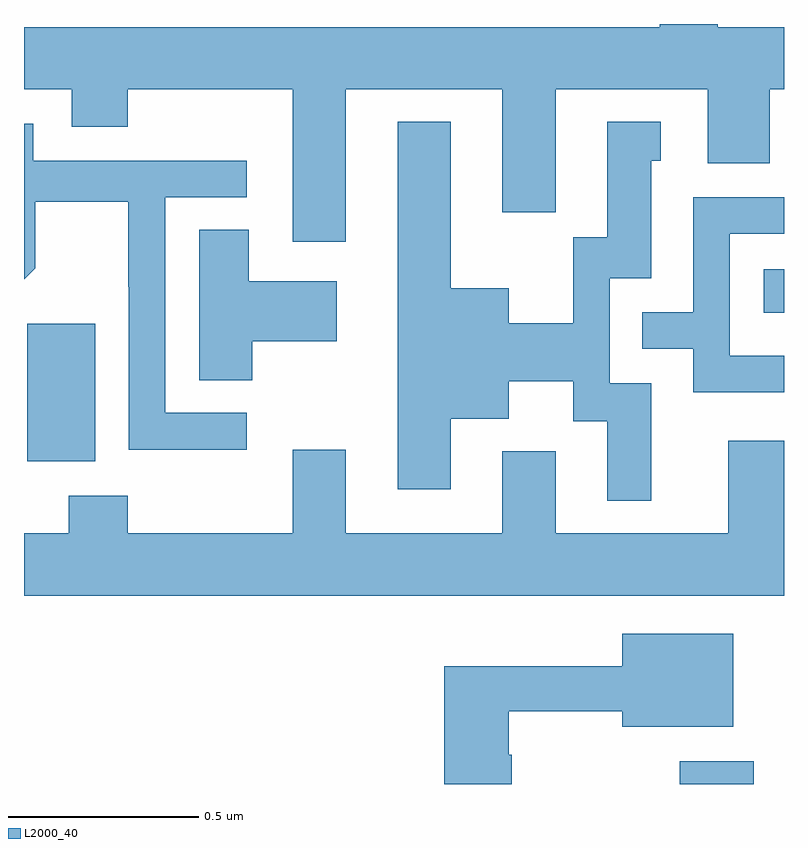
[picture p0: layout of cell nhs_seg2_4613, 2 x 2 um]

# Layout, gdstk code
import gdstk
lib = gdstk.Library(unit=1e-6, precision=1e-09)
def R(c, l, rs):  # rectangles x0, y0, x1, y1
    for r in rs: c.add(gdstk.rectangle(r[:2], r[2:], *l))
def P(c, l, *ps):  # polygons
    for p in ps: c.add(gdstk.Polygon(p, *l))
L2000_40 = (2000, 40)

nhs_seg2_4613 = lib.new_cell('nhs_seg2_4613')
R(nhs_seg2_4613, L2000_40, [(169.725,653.8,169.921,653.86), (168.008,654.65,168.187,655.011), (169.947,655.04,170,655.155)])
P(nhs_seg2_4613, L2000_40, [(168.847,655.628),(169.259,655.628),(169.259,655.305),(169.399,655.305),(169.399,655.628),(169.799,655.628),(169.799,655.434),(169.963,655.434),(169.963,655.628),(170,655.628),(170,655.792),(169.825,655.792),(169.825,655.8),(169.673,655.8),(169.673,655.792),(168,655.792),(168,655.628),(168.125,655.628),(168.125,655.529),(168.273,655.529),(168.273,655.628),(168.707,655.628),(168.707,655.227),(168.847,655.227)],
  [(169.651,654.855),(169.542,654.855),(169.542,655.131),(169.651,655.131),(169.651,655.44),(169.675,655.44),(169.675,655.543),(169.535,655.543),(169.535,655.239),(169.446,655.239),(169.446,655.012),(169.276,655.012),(169.276,655.105),(169.123,655.105),(169.123,655.543),(168.983,655.543),(168.983,654.576),(169.123,654.576),(169.123,654.761),(169.276,654.761),(169.276,654.86),(169.445,654.86),(169.445,654.754),(169.535,654.754),(169.535,654.546),(169.651,654.546)],
  [(168.586,654.777),(168.372,654.777),(168.372,655.344),(168.586,655.344),(168.586,655.44),(168.024,655.44),(168.024,655.537),(168,655.537),(168,655.128),(168.029,655.157),(168.029,655.332),(168.274,655.332),(168.274,655.108),(168.276,655.108),(168.276,654.679),(168.586,654.679)],
  [(170,654.927),(169.857,654.927),(169.857,655.248),(170,655.248),(170,655.344),(169.761,655.344),(169.761,655.041),(169.627,655.041),(169.627,654.945),(169.761,654.945),(169.761,654.831),(170,654.831)],
  [(168.6,654.965),(168.823,654.965),(168.823,655.123),(168.592,655.123),(168.592,655.259),(168.461,655.259),(168.461,654.862),(168.6,654.862)],
  [(170,654.703),(169.853,654.703),(169.853,654.46),(169.399,654.46),(169.399,654.676),(169.259,654.676),(169.259,654.46),(168.847,654.46),(168.847,654.679),(168.707,654.679),(168.707,654.46),(168.273,654.46),(168.273,654.559),(168.118,654.559),(168.118,654.46),(168,654.46),(168,654.296),(170,654.296)],
  [(169.284,653.877),(169.276,653.877),(169.276,653.992),(169.574,653.992),(169.574,653.951),(169.867,653.951),(169.867,654.196),(169.574,654.196),(169.574,654.11),(169.106,654.11),(169.106,653.8),(169.284,653.8)])

lib.write_gds('nhs_seg2_4613.gds')
